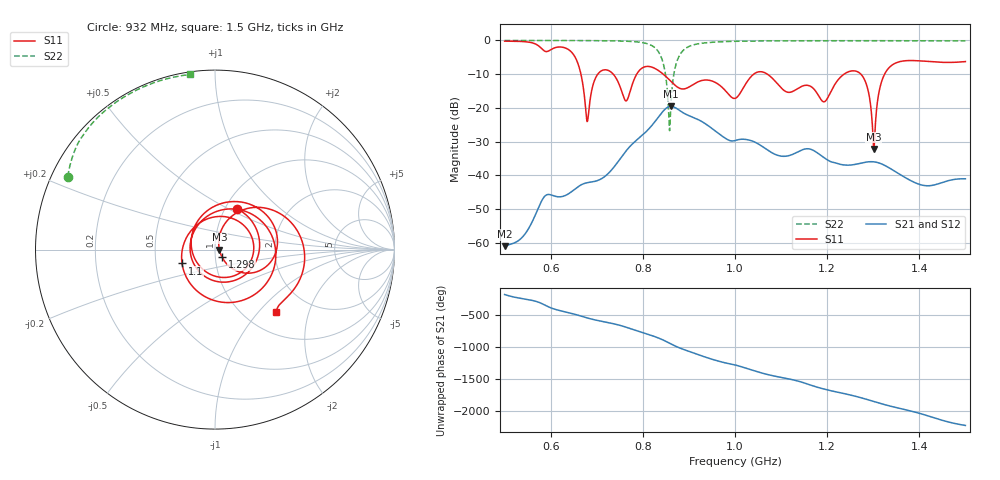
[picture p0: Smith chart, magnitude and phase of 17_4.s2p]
! TOUCHSTONE file generated by CST MICROWAVE STUDIO
! Date and time: Sat Nov 14 20:00:29 2020
! Project name: Scenario_1_Planar_Body_Tissue_Out_of_Line.cst
! Parameters = {dy1=69.2; L_HA=400; Ltissue=700; MT=2.54; Rad_Dielectric=30; Rad_Lower=7.3; Rad_Upper=30; Wtissue=700; a_HA=580; a_WG=246; b_HA=500; b_WG=121; c_HA=0; c_WG=187; d_feed=85; dx1=693; h_feed=15; h_lower=18; h_upper=40; hfat=3; hgap=25; hmuscle=50; hskin=1.5}
! Header version: 2018
! Port assignment regex: !\s*Touchstone port\s*([0-9]+)\s*=\s*(CST MWS port|CST DS port)\s*([0-9]+|Zmin|Zmax)\s*\(\"(.*)\"\)(\s*mode\s*([0-9]+))?.*
! Touchstone port assignment:
! Touchstone port 1 = CST MWS port 1 ("")
! Touchstone port 2 = CST MWS port 2 ("")
# GHz S DB R 50
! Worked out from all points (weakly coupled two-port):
!   1003 points, 500 MHz to 1.5 GHz, reference 50 ohm
!   highest |S21| = -19.54 dB at 861 MHz (marker M1); lowest = -60.9 dB at 500 MHz (marker M2)
!   lowest |S11| = -32.2 dB at 1.301 GHz (marker M3), VSWR 1.05, Z = 52.5 - j0.064 ohm
!   |S11| at or under -10 dB: 735.8 MHz to 786.7 MHz (50.86 MHz wide, 6.68 % of centre); 844.3 MHz to 1.04 GHz (196.2 MHz wide, 20.8 % of centre); 1.07 GHz to 1.237 GHz (166.2 MHz wide, 14.4 % of centre) (the widest 3 of 5)
!   |S22| runs from -26.7 to 0.0 dB; largest |S21 - S12| = 9.1e-06
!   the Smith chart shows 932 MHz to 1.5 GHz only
!   S11 on the Smith chart (normalised r, x): 932 MHz: 1.14, +0.55; 1.1 GHz: 0.68, -0.11; 1.298 GHz: 1.08, -0.09; 1.5 GHz: 1.38, -1.25
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0.5  -0.21 -121.5  -60.94 -171.6  -60.94 -171.6  -0.01 151.2
0.622  -1.95 173.2  -46.30 -67.6  -46.30 -67.6  -0.02 142.4
0.667  -10.88 98.0  -42.71 -152.7  -42.71 -152.7  -0.04 138.4
0.68  -23.92 155.3  -42.12 179.3  -42.12 179.3  -0.05 137.1
0.71  -9.00 160.1  -40.98 128.8  -40.98 128.8  -0.08 133.6
0.763  -17.90 -22.6  -32.84 36.9  -32.84 36.9  -0.22 124.8
0.797  -8.31 165.3  -28.30 -44.0  -28.30 -44.0  -0.60 114.0
0.834  -8.93 59.3  -22.67 -134.7  -22.67 -134.7  -3.39 83.8
0.861  -12.12 -25.1  -19.54 132.2  -19.54 132.2  -18.67 -120.1
0.88  -14.19 -98.7  -20.77 68.9  -20.77 68.9  -4.34 -171.6
0.932  -11.77 61.6  -24.36 -65.5  -24.36 -65.5  -0.77 153.6
1  -17.16 -179.2  -29.66 162.4  -29.66 162.4  -0.26 140.2
1.05  -9.34 -7.1  -30.61 52.8  -30.61 52.8  -0.17 134.4
1.1  -14.02 -157.3  -34.27 -33.4  -34.27 -33.4  -0.12 129.7
1.133  -14.51 79.2  -33.24 -83.9  -33.24 -83.9  -0.11 127.0
1.167  -13.86 -27.8  -32.38 -161.1  -32.38 -161.1  -0.09 124.2
1.202  -16.79 155.7  -35.51 128.0  -35.51 128.0  -0.09 121.5
1.268  -9.42 -3.3  -36.52 18.0  -36.52 18.0  -0.08 116.5
1.298  -24.84 -46.9  -35.92 -44.5  -35.92 -44.5  -0.08 114.3
1.301  -32.16 -1.4  -35.96 -51.1  -35.96 -51.1  -0.08 114.0
1.334  -8.12 33.7  -37.69 -118.9  -37.69 -118.9  -0.09 111.5
1.5  -6.26 -45.4  -40.98 -68.1  -40.98 -68.1  -0.13 98.0
